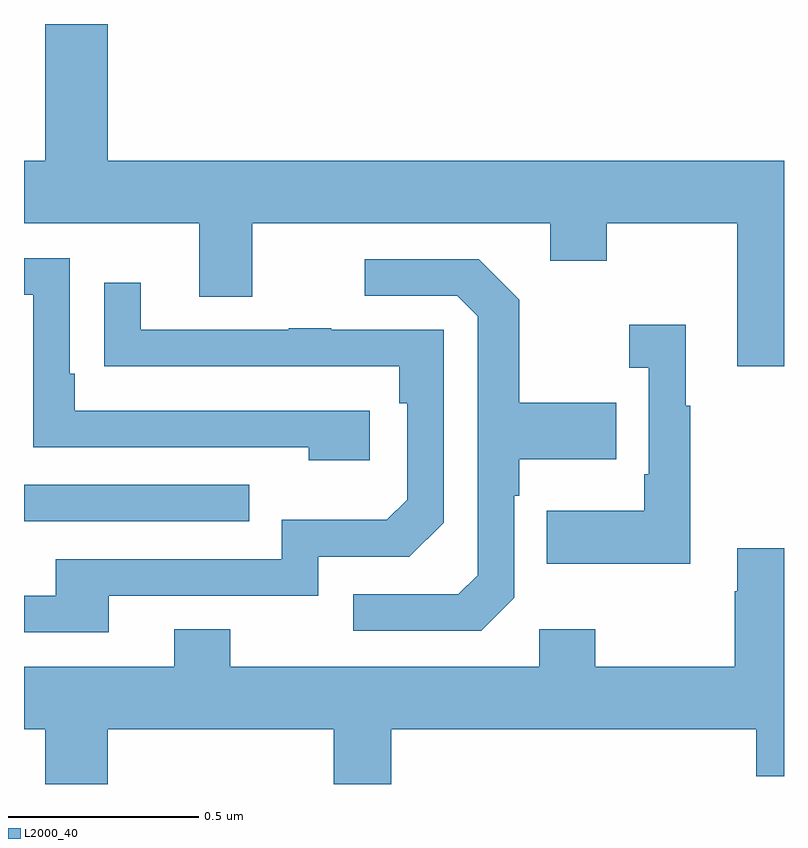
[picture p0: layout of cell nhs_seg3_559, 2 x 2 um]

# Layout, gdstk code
import gdstk
lib = gdstk.Library(unit=1e-6, precision=1e-09)
def R(c, l, rs):  # rectangles x0, y0, x1, y1
    for r in rs: c.add(gdstk.rectangle(r[:2], r[2:], *l))
def P(c, l, *ps):  # polygons
    for p in ps: c.add(gdstk.Polygon(p, *l))
L2000_40 = (2000, 40)

nhs_seg3_559 = lib.new_cell('nhs_seg3_559')
R(nhs_seg3_559, L2000_40, [(117,740.091,117.593,740.187)])
P(nhs_seg3_559, L2000_40, [(119,741.04),(117.22,741.04),(117.22,741.4),(117.056,741.4),(117.056,741.04),(117,741.04),(117,740.876),(117.461,740.876),(117.461,740.682),(117.601,740.682),(117.601,740.876),(118.385,740.876),(118.385,740.777),(118.533,740.777),(118.533,740.876),(118.877,740.876),(118.877,740.499),(119,740.499)],
  [(117.91,740.382),(117.133,740.382),(117.133,740.479),(117.12,740.479),(117.12,740.784),(117,740.784),(117,740.688),(117.024,740.688),(117.024,740.286),(117.749,740.286),(117.749,740.252),(117.91,740.252)],
  [(118.29,739.89),(118.29,740.159),(118.303,740.159),(118.303,740.255),(118.559,740.255),(118.559,740.403),(118.303,740.403),(118.303,740.675),(118.197,740.781),(117.897,740.781),(117.897,740.685),(118.14,740.685),(118.194,740.631),(118.194,739.95),(118.143,739.899),(117.867,739.899),(117.867,739.803),(118.203,739.803)],
  [(117.223,739.896),(117.774,739.896),(117.774,739.998),(118.014,739.998),(118.104,740.088),(118.104,740.595),(117.809,740.595),(117.809,740.6),(117.697,740.6),(117.697,740.595),(117.307,740.595),(117.307,740.719),(117.211,740.719),(117.211,740.5),(117.313,740.5),(117.313,740.499),(117.988,740.499),(117.988,740.402),(118.008,740.402),(118.008,740.148),(117.955,740.095),(117.678,740.095),(117.678,739.992),(117.083,739.992),(117.083,739.896),(117,739.896),(117,739.8),(117.223,739.8)],
  [(118.753,740.395),(118.741,740.395),(118.741,740.608),(118.593,740.608),(118.593,740.495),(118.644,740.495),(118.644,740.215),(118.632,740.215),(118.632,740.119),(118.375,740.119),(118.375,739.979),(118.753,739.979)],
  [(117.22,739.544),(117.815,739.544),(117.815,739.4),(117.967,739.4),(117.967,739.544),(118.927,739.544),(118.927,739.42),(119,739.42),(119,740.02),(118.877,740.02),(118.877,739.907),(118.87,739.907),(118.87,739.708),(118.503,739.708),(118.503,739.807),(118.356,739.807),(118.356,739.708),(117.543,739.708),(117.543,739.807),(117.395,739.807),(117.395,739.708),(117,739.708),(117,739.544),(117.056,739.544),(117.056,739.4),(117.22,739.4)])

lib.write_gds('nhs_seg3_559.gds')
